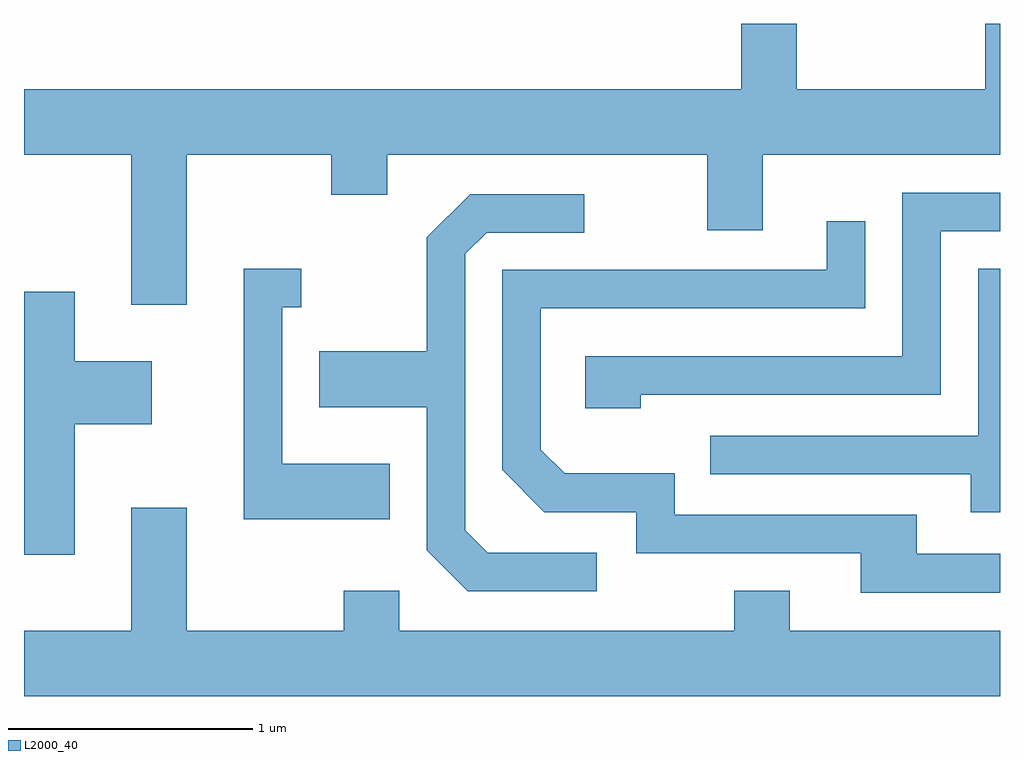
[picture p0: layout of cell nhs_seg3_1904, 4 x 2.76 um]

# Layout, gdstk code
import gdstk
lib = gdstk.Library(unit=1e-6, precision=1e-09)
def P(c, l, *ps):  # polygons
    for p in ps: c.add(gdstk.Polygon(p, *l))
L2000_40 = (2000, 40)

nhs_seg3_1904 = lib.new_cell('nhs_seg3_1904')
P(nhs_seg3_1904, L2000_40, [(241.611,1119.356),(242.051,1119.356),(242.051,1118.741),(242.279,1118.741),(242.279,1119.356),(242.871,1119.356),(242.871,1119.191),(243.099,1119.191),(243.099,1119.356),(244.411,1119.356),(244.411,1119.046),(244.639,1119.046),(244.639,1119.356),(245.611,1119.356),(245.611,1119.892),(245.551,1119.892),(245.551,1119.624),(244.779,1119.624),(244.779,1119.892),(244.551,1119.892),(244.551,1119.624),(241.611,1119.624)],
  [(244.139,1118.371),(245.369,1118.371),(245.369,1119.041),(245.611,1119.041),(245.611,1119.199),(245.211,1119.199),(245.211,1118.529),(243.911,1118.529),(243.911,1118.316),(244.139,1118.316)],
  [(243.958,1117.724),(243.512,1117.724),(243.419,1117.817),(243.419,1118.949),(243.507,1119.036),(243.908,1119.036),(243.908,1119.194),(243.439,1119.194),(243.261,1119.017),(243.261,1118.549),(242.821,1118.549),(242.821,1118.321),(243.261,1118.321),(243.261,1117.734),(243.429,1117.566),(243.958,1117.566)],
  [(245.611,1117.719),(245.269,1117.719),(245.269,1117.879),(244.279,1117.879),(244.279,1118.049),(243.827,1118.049),(243.729,1118.147),(243.729,1118.726),(245.059,1118.726),(245.059,1119.083),(244.901,1119.083),(244.901,1118.884),(243.571,1118.884),(243.571,1118.064),(243.744,1117.891),(244.121,1117.891),(244.121,1117.721),(245.041,1117.721),(245.041,1117.561),(245.611,1117.561)],
  [(245.611,1118.889),(245.521,1118.889),(245.521,1118.204),(244.423,1118.204),(244.423,1118.046),(245.491,1118.046),(245.491,1117.891),(245.611,1117.891)],
  [(243.109,1118.089),(242.669,1118.089),(242.669,1118.731),(242.748,1118.731),(242.748,1118.889),(242.511,1118.889),(242.511,1117.861),(243.109,1117.861)],
  [(241.819,1118.251),(242.134,1118.251),(242.134,1118.509),(241.819,1118.509),(241.819,1118.794),(241.611,1118.794),(241.611,1117.716),(241.819,1117.716)],
  [(245.611,1117.404),(244.749,1117.404),(244.749,1117.569),(244.521,1117.569),(244.521,1117.404),(243.149,1117.404),(243.149,1117.569),(242.921,1117.569),(242.921,1117.404),(242.279,1117.404),(242.279,1117.909),(242.051,1117.909),(242.051,1117.404),(241.611,1117.404),(241.611,1117.136),(245.611,1117.136)])

lib.write_gds('nhs_seg3_1904.gds')
